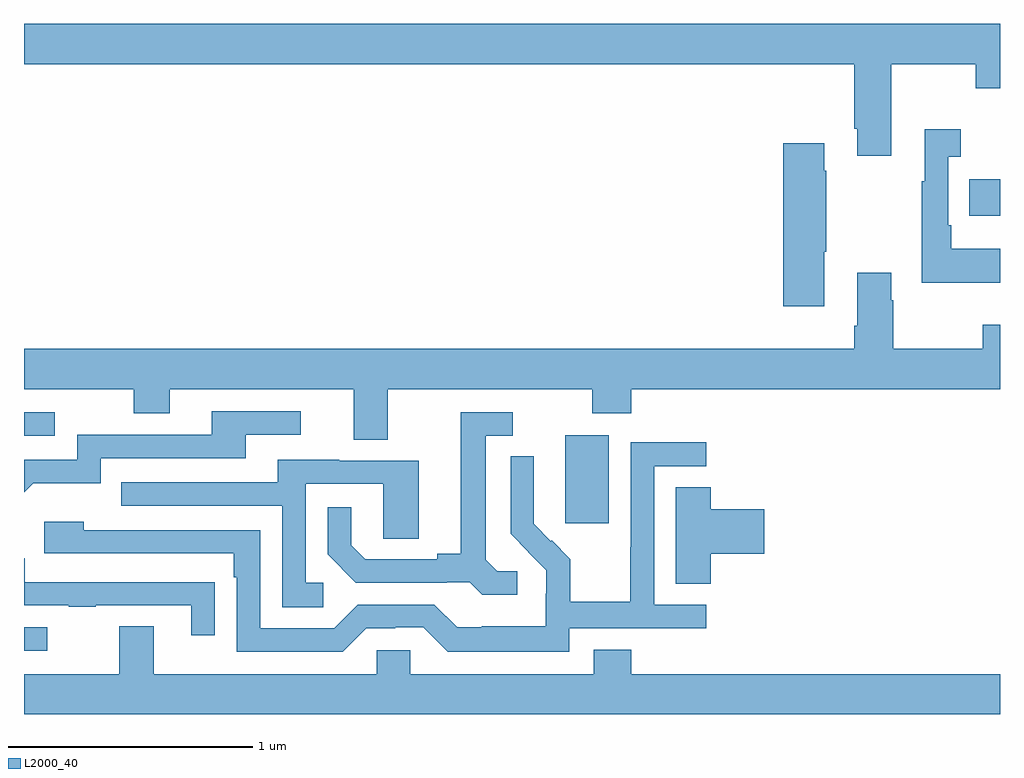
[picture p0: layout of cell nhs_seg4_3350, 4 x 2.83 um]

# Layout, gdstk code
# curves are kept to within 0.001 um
import gdstk
lib = gdstk.Library(unit=1e-6, precision=1e-09)
def R(c, l, rs):  # rectangles x0, y0, x1, y1
    for r in rs: c.add(gdstk.rectangle(r[:2], r[2:], *l))
def P(c, l, *ps):  # polygons
    for p in ps: c.add(gdstk.Polygon(p, *l))
L2000_40 = (2000, 40)

nhs_seg4_3350 = lib.new_cell('nhs_seg4_3350')
R(nhs_seg4_3350, L2000_40, [(289,751.791,289.096,751.887), (291.218,752.313,291.397,752.674), (289,752.673,289.126,752.769), (292.873,753.575,293,753.723)])
P(nhs_seg4_3350, L2000_40, [(292.555,754.196),(292.9,754.196),(292.9,754.097),(293,754.097),(293,754.36),(289,754.36),(289,754.196),(292.403,754.196),(292.403,753.931),(292.415,753.931),(292.415,753.819),(292.555,753.819)],
  [(293,753.439),(292.801,753.439),(292.801,753.535),(292.788,753.535),(292.788,753.815),(292.84,753.815),(292.84,753.928),(292.691,753.928),(292.691,753.715),(292.68,753.715),(292.68,753.299),(293,753.299)],
  [(292.279,753.427),(292.287,753.427),(292.287,753.758),(292.279,753.758),(292.279,753.871),(292.112,753.871),(292.112,753.204),(292.279,753.204)],
  [(293,753.127),(292.93,753.127),(292.93,753.028),(292.563,753.028),(292.563,753.227),(292.555,753.227),(292.555,753.34),(292.415,753.34),(292.415,753.124),(292.403,753.124),(292.403,753.028),(289,753.028),(289,752.864),(289.45,752.864),(289.45,752.765),(289.597,752.765),(289.597,752.864),(290.351,752.864),(290.351,752.656),(290.491,752.656),(290.491,752.864),(291.328,752.864),(291.328,752.765),(291.488,752.765),(291.488,752.864),(293,752.864)],
  [(289.037,752.477),(289.314,752.477),(289.314,752.58),(289.909,752.58),(289.909,752.676),(290.134,752.676),(290.134,752.772),(289.769,752.772),(289.769,752.676),(289.218,752.676),(289.218,752.574),(289,752.574),(289,752.44)],
  [(291.022,752.118),(290.94,752.118),(290.893,752.165),(290.893,752.673),(291.004,752.673),(291.004,752.769),(290.789,752.769),(290.789,752.189),(290.693,752.189),(290.693,752.166),(290.398,752.166),(290.341,752.223),(290.341,752.38),(290.244,752.38),(290.244,752.186),(290.36,752.07),(290.732,752.07),(290.732,752.073),(290.826,752.073),(290.878,752.021),(291.022,752.021)],
  [(291.234,751.884),(291.796,751.884),(291.796,751.98),(291.582,751.98),(291.582,752.547),(291.796,752.547),(291.796,752.646),(291.486,752.646),(291.486,752.216),(291.484,752.216),(291.484,751.993),(291.239,751.993),(291.239,752.167),(291.162,752.244),(291.159,752.241),(291.089,752.312),(291.09,752.588),(290.994,752.588),(290.994,752.27),(291.14,752.122),(291.14,752.025),(291.138,752.025),(291.138,751.891),(290.875,751.891),(290.875,751.887),(290.775,751.887),(290.682,751.98),(290.367,751.98),(290.271,751.884),(289.968,751.884),(289.968,752.286),(289.244,752.286),(289.244,752.32),(289.083,752.32),(289.083,752.19),(289.859,752.19),(289.859,752.093),(289.872,752.093),(289.872,751.788),(290.307,751.788),(290.403,751.884),(290.522,751.884),(290.522,751.887),(290.637,751.887),(290.737,751.787),(291.234,751.787)],
  [(290.227,752.07),(290.154,752.07),(290.154,752.475),(290.472,752.475),(290.472,752.251),(290.617,752.251),(290.617,752.571),(290.293,752.571),(290.293,752.575),(290.039,752.575),(290.039,752.481),(289.399,752.481),(289.399,752.385),(290.058,752.385),(290.058,751.969),(290.227,751.969)],
  [(291.815,752.189),(292.033,752.189),(292.033,752.372),(291.815,752.372),(291.815,752.462),(291.671,752.462),(291.671,752.065),(291.815,752.065)],
  [(289.781,752.072),(289.679,752.072),(289.679,752.073),(289.004,752.073),(289.004,752.17),(289,752.17),(289,751.977),(289.183,751.977),(289.183,751.972),(289.295,751.972),(289.295,751.977),(289.685,751.977),(289.685,751.854),(289.781,751.854)],
  [(293,751.696),(291.488,751.696),(291.488,751.795),(291.335,751.795),(291.335,751.696),(290.583,751.696),(290.583,751.794),(290.445,751.794),(290.445,751.696),(289.531,751.696),(289.531,751.891),(289.391,751.891),(289.391,751.696),(289,751.696),(289,751.532),(293,751.532)])

lib.write_gds('nhs_seg4_3350.gds')
